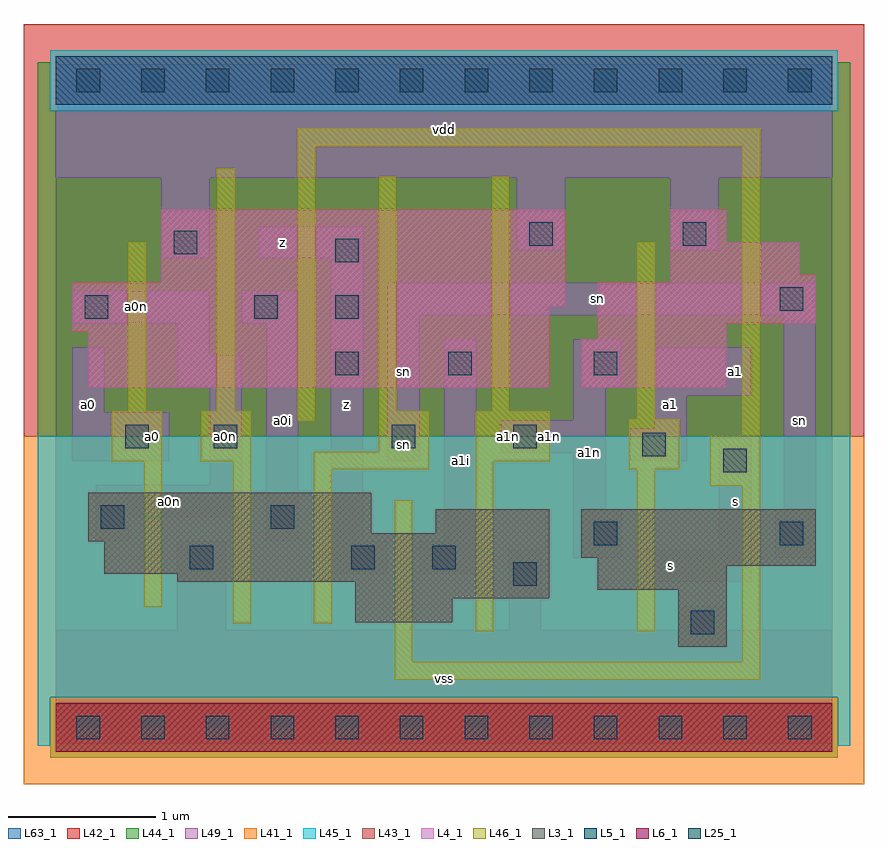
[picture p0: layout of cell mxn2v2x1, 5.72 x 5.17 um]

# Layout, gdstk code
import gdstk
lib = gdstk.Library(unit=1e-6, precision=1e-09)
def R(c, l, rs):  # rectangles x0, y0, x1, y1
    for r in rs: c.add(gdstk.rectangle(r[:2], r[2:], *l))
def A(c, l, x, y, w, h, nx, ny, dx, dy):  # array of equal rectangles
    R(c, l, [(x+i*dx, y+j*dy, x+i*dx+w, y+j*dy+h) for i in range(nx) for j in range(ny)])
L3_1 = (3, 1)
L4_1 = (4, 1)
L5_1 = (5, 1)
L6_1 = (6, 1)
L25_1 = (25, 1)
L41_1 = (41, 1)
L42_1 = (42, 1)
L43_1 = (43, 1)
L44_1 = (44, 1)
L45_1 = (45, 1)
L46_1 = (46, 1)
L49_1 = (49, 1)
L63_1 = (63, 1)

mxn2v2x1 = lib.new_cell('mxn2v2x1')
R(mxn2v2x1, L3_1, [(4.235,0.55,4.565,0.935), (2.035,0.715,2.695,0.88), (2.035,0.88,3.355,0.99), (3.685,0.935,4.565,1.1), (0.825,0.99,3.355,1.045), (0.33,1.045,3.355,1.265), (3.685,1.1,5.17,1.155), (3.575,1.155,5.17,1.485), (0.22,1.265,3.355,1.32), (0.22,1.32,2.145,1.595), (2.585,1.32,3.355,1.485)])
R(mxn2v2x1, L4_1, [(0.22,2.31,3.355,2.695), (3.575,2.31,4.565,2.64), (3.685,2.64,4.565,2.75), (0.11,2.695,3.355,2.86), (3.685,2.75,5.17,3.025), (0.11,2.86,3.465,3.025), (0.715,3.025,3.465,3.52), (4.18,3.025,5.17,3.08), (4.18,3.08,5.06,3.3), (4.18,3.3,4.565,3.52)])
R(mxn2v2x1, L5_1, [(0,4.235,5.28,4.565)])
R(mxn2v2x1, L6_1, [(0,-0.165,5.28,0.165)])
A(mxn2v2x1, L25_1, 0.14, -0.08, 0.16, 0.16, 12, 2, 0.44, 4.4)
A(mxn2v2x1, L25_1, 1.9, 2.395, 0.16, 0.16, 1, 3, 0, 0.385)
R(mxn2v2x1, L25_1, [(4.32,0.635,4.48,0.795), (3.11,0.965,3.27,1.125), (0.91,1.075,1.07,1.235), (2.01,1.075,2.17,1.235), (2.56,1.075,2.72,1.235), (3.66,1.24,3.82,1.4), (4.925,1.24,5.085,1.4), (0.305,1.35,0.465,1.51), (1.46,1.35,1.62,1.51), (4.54,1.735,4.7,1.895), (3.99,1.845,4.15,2.005), (0.47,1.9,0.63,2.06), (1.075,1.9,1.235,2.06), (2.285,1.9,2.445,2.06), (3.11,1.9,3.27,2.06), (2.67,2.395,2.83,2.555), (3.66,2.395,3.82,2.555), (0.195,2.78,0.355,2.94), (1.35,2.78,1.51,2.94), (4.925,2.835,5.085,2.995), (0.8,3.22,0.96,3.38), (3.22,3.275,3.38,3.435), (4.265,3.275,4.425,3.435)])
R(mxn2v2x1, L41_1, [(-0.22,-0.385,5.5,1.98)])
R(mxn2v2x1, L42_1, [(-0.22,1.98,5.5,4.785)])
R(mxn2v2x1, L43_1, [(0,-0.165,5.28,0.165), (4.235,0.55,4.565,0.935), (2.035,0.715,2.695,0.88), (2.035,0.88,3.355,0.99), (3.685,0.935,4.565,1.1), (0.825,0.99,3.355,1.045), (0.33,1.045,3.355,1.265), (3.685,1.1,5.17,1.155), (3.575,1.155,5.17,1.485), (0.22,1.265,3.355,1.32), (0.22,1.32,2.145,1.595), (2.585,1.32,3.355,1.485), (0.22,2.31,3.355,2.695), (3.575,2.31,4.565,2.64), (3.685,2.64,4.565,2.75), (0.11,2.695,3.355,2.86), (3.685,2.75,5.17,3.025), (0.11,2.86,3.465,3.025), (0.715,3.025,3.465,3.52), (4.18,3.025,5.17,3.08), (4.18,3.08,5.06,3.3), (4.18,3.3,4.565,3.52), (0,4.235,5.28,4.565)])
R(mxn2v2x1, L44_1, [(-0.04,-0.205,5.32,0.205), (-0.125,1.98,5.405,4.195), (-0.125,4.195,-0.04,4.525), (5.32,4.195,5.405,4.525)])
R(mxn2v2x1, L45_1, [(-0.125,-0.125,-0.04,0.205), (5.32,-0.125,5.405,0.205), (-0.125,0.205,5.405,1.98), (-0.04,4.195,5.32,4.605)])
R(mxn2v2x1, L46_1, [(2.305,0.325,4.79,0.445), (2.305,0.445,2.425,1.545), (4.67,0.445,4.79,1.645), (2.855,0.655,2.975,1.81), (3.955,0.655,4.075,1.755), (1.205,0.71,1.325,1.81), (1.755,0.71,1.875,1.755), (0.6,0.82,0.72,1.81), (4.45,1.645,4.79,1.985), (1.755,1.755,2.535,1.875), (3.9,1.755,4.24,2.095), (0.38,1.81,0.72,2.15), (0.985,1.81,1.325,2.15), (2.855,1.81,3.36,2.15), (2.195,1.875,2.535,2.15), (4.67,1.985,4.79,3.955), (1.645,2.085,1.765,3.955), (3.955,2.095,4.075,3.305), (0.49,2.15,0.61,3.305), (1.095,2.15,1.215,3.8), (2.195,2.15,2.315,3.745), (2.965,2.15,3.085,3.745), (1.645,3.955,4.79,4.075)])
R(mxn2v2x1, L49_1, [(0,-0.11,5.28,0.66), (0.825,0.66,1.155,1.265), (3.08,0.66,3.3,1.21), (4.235,0.66,4.565,0.825), (4.015,0.99,4.73,1.21), (1.87,1.045,2.255,1.265), (2.475,1.045,2.86,1.265), (3.52,1.155,3.85,1.485), (4.895,1.155,5.17,1.485), (4.51,1.21,4.73,1.98), (0.275,1.265,0.495,1.43), (1.43,1.265,1.65,2.75), (1.87,1.265,2.09,3.19), (2.64,1.265,2.86,2.64), (0.275,1.43,1.265,1.65), (3.52,1.485,3.74,1.87), (4.95,1.485,5.17,2.805), (1.045,1.65,1.265,2.31), (0.11,1.815,0.77,2.145), (2.255,1.815,2.475,2.805), (3.905,1.815,4.29,2.035), (3.025,1.87,3.74,2.09), (4.07,2.035,4.29,2.255), (3.52,2.09,3.74,2.31), (0.11,2.145,0.33,2.585), (4.07,2.255,4.73,2.585), (0.825,2.31,1.265,2.53), (3.52,2.31,3.85,2.64), (0.825,2.53,1.045,2.75), (0.11,2.75,1.045,2.97), (1.265,2.75,1.65,2.97), (2.255,2.805,5.17,3.025), (0.715,3.19,1.045,3.74), (1.375,3.19,2.09,3.41), (3.135,3.245,3.465,3.74), (4.18,3.245,4.51,3.74), (0,3.74,5.28,4.51)])
R(mxn2v2x1, L63_1, [(0,0,5.28,4.4)])
mxn2v2x1.add(gdstk.Label('a0n', (1.155,1.98), layer=49, texttype=1))
mxn2v2x1.add(gdstk.Label('sn', (2.365,1.925), layer=49, texttype=1))
mxn2v2x1.add(gdstk.Label('a1n', (3.08,1.98), layer=46, texttype=1))
mxn2v2x1.add(gdstk.Label('a0', (0.22,2.2), layer=49, texttype=1))
mxn2v2x1.add(gdstk.Label('a0', (0.66,1.98), layer=49, texttype=1))
mxn2v2x1.add(gdstk.Label('a0n', (0.77,1.54), layer=49, texttype=1))
mxn2v2x1.add(gdstk.Label('a0n', (1.155,1.98), layer=49, texttype=1))
mxn2v2x1.add(gdstk.Label('a0n', (0.55,2.86), layer=49, texttype=1))
mxn2v2x1.add(gdstk.Label('a0i', (1.54,2.09), layer=49, texttype=1))
mxn2v2x1.add(gdstk.Label('z', (1.54,3.3), layer=49, texttype=1))
mxn2v2x1.add(gdstk.Label('vss', (2.64,0.33), layer=49, texttype=1))
mxn2v2x1.add(gdstk.Label('z', (1.98,2.2), layer=49, texttype=1))
mxn2v2x1.add(gdstk.Label('sn', (2.365,2.42), layer=49, texttype=1))
mxn2v2x1.add(gdstk.Label('a1i', (2.75,1.815), layer=49, texttype=1))
mxn2v2x1.add(gdstk.Label('vdd', (2.64,4.07), layer=49, texttype=1))
mxn2v2x1.add(gdstk.Label('s', (4.18,1.1), layer=49, texttype=1))
mxn2v2x1.add(gdstk.Label('a1n', (3.355,1.98), layer=49, texttype=1))
mxn2v2x1.add(gdstk.Label('a1', (4.18,2.2), layer=49, texttype=1))
mxn2v2x1.add(gdstk.Label('a1n', (3.63,1.87), layer=49, texttype=1))
mxn2v2x1.add(gdstk.Label('s', (4.62,1.54), layer=49, texttype=1))
mxn2v2x1.add(gdstk.Label('a1', (4.62,2.42), layer=49, texttype=1))
mxn2v2x1.add(gdstk.Label('sn', (5.06,2.09), layer=49, texttype=1))
mxn2v2x1.add(gdstk.Label('sn', (3.685,2.915), layer=49, texttype=1))

lib.write_gds('mxn2v2x1.gds')
